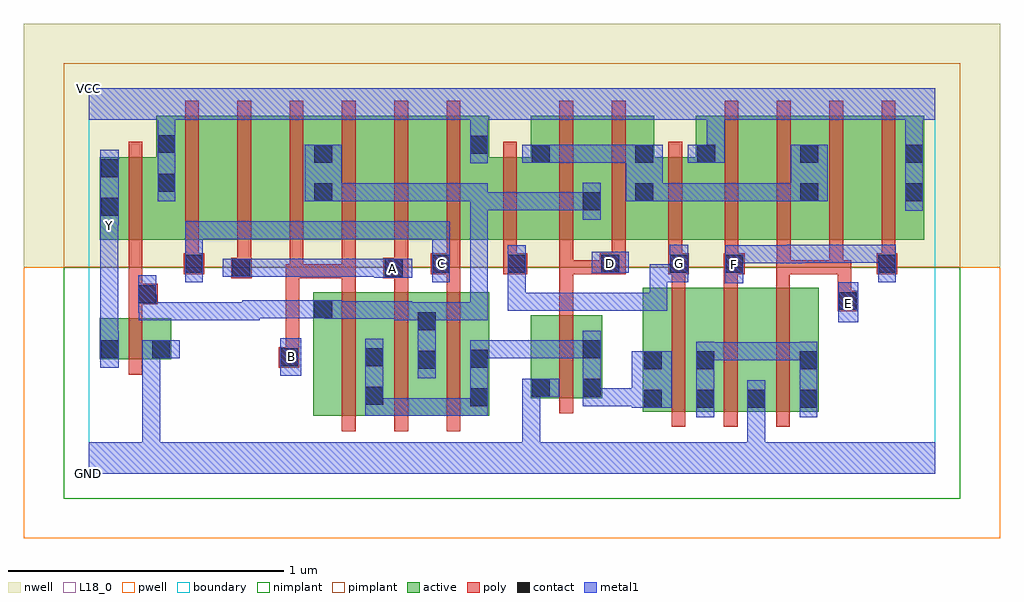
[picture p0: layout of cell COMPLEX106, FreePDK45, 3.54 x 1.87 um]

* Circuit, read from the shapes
.subckt COMPLEX106 A B C D E F G GND VCC Y
M1 GND n1 Y VSUBS nfet w=0.15u l=0.05u
M2 n2 B n1 VSUBS nfet w=0.45u l=0.05u
M3 n1 A n2 VSUBS nfet w=0.45u l=0.05u
M4 n2 C n1 VSUBS nfet w=0.45u l=0.05u
M5 n2 D GND VSUBS nfet w=0.3u l=0.05u
M6 n3 G n2 VSUBS nfet w=0.45u l=0.05u
M7 GND F n3 VSUBS nfet w=0.45u l=0.05u
M8 n3 E GND VSUBS nfet w=0.45u l=0.05u
M9 VCC n1 Y n4 pfet w=0.3u l=0.05u
M10 n5 C VCC n4 pfet w=0.45u l=0.05u
M11 n6 A n5 n4 pfet w=0.45u l=0.05u
M12 n1 B n6 n4 pfet w=0.45u l=0.05u
M13 n7 B n1 n4 pfet w=0.45u l=0.05u
M14 n8 A n7 n4 pfet w=0.45u l=0.05u
M15 VCC C n8 n4 pfet w=0.45u l=0.05u
M16 n9 G VCC n4 pfet w=0.3u l=0.05u m=2
M17 n1 D n9 n4 pfet w=0.45u l=0.05u m=2
M18 n10 F VCC n4 pfet w=0.45u l=0.05u
M19 n9 E n10 n4 pfet w=0.45u l=0.05u
M20 n11 E n9 n4 pfet w=0.45u l=0.05u
M21 VCC F n11 n4 pfet w=0.45u l=0.05u
.ends

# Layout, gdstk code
import gdstk
lib = gdstk.Library(unit=1e-6, precision=1e-09)
def R(c, l, rs):  # rectangles x0, y0, x1, y1
    for r in rs: c.add(gdstk.rectangle(r[:2], r[2:], *l))
def A(c, l, x, y, w, h, nx, ny, dx, dy):  # array of equal rectangles
    R(c, l, [(x+i*dx, y+j*dy, x+i*dx+w, y+j*dy+h) for i in range(nx) for j in range(ny)])
active = (1, 0)
pwell = (2, 0)
nwell = (3, 0)
nimplant = (4, 0)
pimplant = (5, 0)
poly = (9, 0)
contact = (10, 0)
metal1 = (11, 0)
L18_0 = (18, 0)
boundary = (235, 0)

complex106 = lib.new_cell('COMPLEX106')
R(complex106, active, [(0.815,0.21,1.075,0.66), (1,0.21,1.265,0.66), (1.19,0.21,1.455,0.66), (1.38,0.21,1.455,0.66), (2.012,0.225,2.277,0.675), (2.012,0.225,2.087,0.675), (2.202,0.225,2.277,0.542), (2.202,0.225,2.462,0.675), (2.387,0.225,2.652,0.675), (2.387,0.225,2.462,0.542), (2.577,0.227,2.652,0.675), (0.815,0.245,0.89,0.66), (1,0.245,1.075,0.542), (1.19,0.245,1.265,0.592), (1.605,0.275,1.865,0.575), (1.605,0.275,1.68,0.392), (1.79,0.275,1.865,0.575), (0.04,0.415,0.115,0.565), (0.04,0.415,0.3,0.565), (0.225,0.415,0.3,0.565), (0.04,0.85,0.115,1.15), (0.04,0.85,0.32,1.15), (0.245,0.85,0.32,1.3), (0.245,0.85,0.47,1.3), (0.47,0.85,0.66,1.3), (0.66,0.85,0.89,1.3), (0.815,0.85,1.04,1.3), (1.04,0.85,1.23,1.3), (1.23,0.85,1.455,1.3), (1.38,0.85,1.68,1.15), (1.605,0.85,1.865,1.3), (1.79,0.85,2.055,1.3), (1.98,0.85,2.28,1.15), (2.205,0.85,2.43,1.3), (2.43,0.85,2.655,1.3), (2.58,0.85,2.81,1.3), (2.58,0.85,2.655,1.2), (2.81,0.85,3.035,1.3), (2.96,0.85,3.035,1.255), (1.79,0.852,1.865,1.07), (2.205,0.852,2.28,1.3), (0.815,0.857,0.89,1.2), (1.38,0.89,1.455,1.3), (1.98,0.985,2.055,1.2), (1.605,1.007,1.68,1.2)])
R(complex106, pwell, [(-0.235,-0.235,3.31,0.75)])
R(complex106, nwell, [(-0.235,0.75,3.31,1.635)])
R(complex106, nimplant, [(-0.09,-0.09,3.165,0.75)])
R(complex106, pimplant, [(-0.09,0.75,3.165,1.49)])
A(complex106, poly, 0.92, 0.155, 0.05, 0.56, 3, 1, 0.19, 0)
A(complex106, poly, 2.117, 0.17, 0.05, 0.56, 3, 1, 0.19, 0)
A(complex106, poly, 2.117, 0.68, 0.05, 0.095, 3, 1, 0.19, 0)
A(complex106, poly, 1.9, 0.75, 0.05, 0.095, 3, 1, 0.205, 0)
A(complex106, poly, 0.35, 0.795, 0.05, 0.56, 6, 1, 0.19, 0)
A(complex106, poly, 2.31, 0.795, 0.05, 0.56, 4, 1, 0.19, 0)
R(complex106, poly, [(1.71,0.22,1.76,0.63), (0.145,0.36,0.195,0.62), (0.69,0.385,0.765,0.46), (0.715,0.41,0.765,0.46), (0.715,0.41,0.765,0.46), (0.715,0.41,0.765,0.76), (0.145,0.57,0.195,0.665), (1.71,0.58,1.76,0.775), (2.72,0.59,2.795,0.665), (0.145,0.615,0.25,0.69), (2.72,0.615,2.77,0.775), (0.145,0.64,0.195,0.845), (0.92,0.665,0.97,0.76), (1.11,0.665,1.16,0.76), (1.3,0.665,1.35,0.775), (0.517,0.71,0.592,0.785), (0.715,0.71,0.78,0.76), (0.73,0.71,0.78,0.76), (0.73,0.71,0.78,0.76), (0.73,0.71,0.97,0.76), (0.73,0.71,0.78,0.845), (0.92,0.71,0.97,0.76), (0.92,0.71,0.97,0.845), (1.07,0.71,1.16,0.785), (0.345,0.725,0.42,0.8), (1.242,0.725,1.35,0.8), (1.505,0.725,1.592,0.8), (1.71,0.725,1.76,0.845), (1.71,0.725,1.76,0.775), (1.71,0.725,1.76,0.775), (1.71,0.725,1.76,0.775), (1.71,0.725,1.907,0.775), (1.857,0.725,1.95,0.8), (2.105,0.725,2.18,0.8), (2.307,0.725,2.382,0.8), (2.497,0.725,2.55,0.775), (2.5,0.725,2.55,0.845), (2.5,0.725,2.74,0.775), (2.69,0.725,2.74,0.845), (2.69,0.725,2.74,0.775), (2.69,0.725,2.74,0.775), (2.69,0.725,2.74,0.775), (2.69,0.725,2.74,0.775), (2.69,0.725,2.77,0.775), (2.862,0.725,2.937,0.8), (0.54,0.735,0.59,0.845), (1.11,0.735,1.16,0.845), (0.35,0.75,0.4,0.845), (1.3,0.75,1.35,0.845), (1.505,0.75,1.555,0.845), (2.88,0.75,2.93,0.845), (0.145,0.795,0.195,1.205), (1.505,0.795,1.555,1.205), (1.71,0.795,1.76,1.355), (1.9,0.795,1.95,1.355), (2.105,0.795,2.155,1.205)])
R(complex106, contact, [(2.017,0.24,2.082,0.305), (2.207,0.24,2.272,0.305), (2.392,0.24,2.457,0.305), (2.582,0.24,2.647,0.305), (1.385,0.245,1.45,0.31), (1.005,0.25,1.07,0.315), (1.61,0.28,1.675,0.345), (1.795,0.28,1.86,0.345), (2.017,0.38,2.082,0.445), (2.207,0.38,2.272,0.445), (2.582,0.38,2.647,0.445), (1.195,0.382,1.26,0.447), (1.385,0.385,1.45,0.45), (0.695,0.39,0.76,0.455), (1.005,0.39,1.07,0.455), (0.045,0.42,0.11,0.485), (0.23,0.42,0.295,0.485), (1.795,0.42,1.86,0.485), (1.195,0.522,1.26,0.587), (0.82,0.565,0.885,0.63), (2.725,0.595,2.79,0.66), (0.18,0.62,0.245,0.685), (0.522,0.715,0.587,0.78), (1.075,0.715,1.14,0.78), (0.35,0.73,0.415,0.795), (1.247,0.73,1.312,0.795), (1.522,0.73,1.587,0.795), (1.862,0.73,1.927,0.795), (2.11,0.73,2.175,0.795), (2.312,0.73,2.377,0.795), (2.867,0.73,2.932,0.795), (0.045,0.937,0.11,1.002), (1.795,0.957,1.86,1.022), (0.82,0.99,0.885,1.055), (1.985,0.99,2.05,1.055), (2.585,0.99,2.65,1.055), (2.965,0.99,3.03,1.055), (0.25,1.025,0.315,1.09), (0.045,1.077,0.11,1.142), (0.82,1.13,0.885,1.195), (1.61,1.13,1.675,1.195), (1.985,1.13,2.05,1.195), (2.21,1.13,2.275,1.195), (2.585,1.13,2.65,1.195), (2.965,1.13,3.03,1.195), (1.385,1.162,1.45,1.227), (0.25,1.165,0.315,1.23)])
R(complex106, metal1, [(0,0,3.075,0.115), (0.195,0.05,0.26,0.115), (0.195,0.05,0.26,0.115), (0.195,0.05,0.26,0.115), (0.195,0.05,0.26,0.115), (0.195,0.05,0.26,0.115), (0.195,0.05,0.26,0.115), (0.195,0.05,0.26,0.485), (1.575,0.05,1.64,0.115), (1.575,0.05,1.64,0.115), (1.575,0.05,1.64,0.345), (2.392,0.05,2.457,0.27), (2.207,0.205,2.272,0.48), (2.392,0.205,2.457,0.27), (2.392,0.205,2.457,0.27), (2.392,0.205,2.457,0.34), (2.582,0.205,2.647,0.48), (1.005,0.21,1.312,0.275), (1.005,0.21,1.07,0.28), (1.247,0.21,1.312,0.275), (1.247,0.21,1.312,0.275), (1.247,0.21,1.312,0.275), (1.247,0.21,1.45,0.275), (1.385,0.21,1.45,0.485), (1.005,0.215,1.07,0.49), (1.005,0.215,1.07,0.28), (1.972,0.24,2.117,0.445), (1.795,0.245,1.86,0.52), (1.795,0.245,2.037,0.31), (1.972,0.245,2.037,0.31), (1.972,0.245,2.037,0.31), (1.575,0.28,1.64,0.345), (1.575,0.28,1.64,0.345), (1.575,0.28,1.71,0.345), (1.195,0.347,1.26,0.622), (0.695,0.355,0.772,0.492), (0.042,0.385,0.11,0.52), (2.207,0.412,2.462,0.477), (2.397,0.412,2.462,0.477), (2.397,0.412,2.462,0.477), (2.397,0.412,2.462,0.477), (2.397,0.412,2.617,0.477), (2.552,0.412,2.617,0.477), (2.552,0.412,2.647,0.477), (0.195,0.42,0.33,0.485), (1.385,0.42,1.602,0.485), (1.537,0.42,1.602,0.485), (1.537,0.42,1.602,0.485), (1.537,0.42,1.602,0.485), (1.537,0.42,1.74,0.485), (1.675,0.42,1.74,0.485), (1.675,0.42,1.86,0.485), (0.042,0.455,0.107,0.897), (2.722,0.55,2.795,0.695), (0.182,0.557,0.247,0.622), (0.182,0.557,0.415,0.622), (0.182,0.557,0.247,0.65), (0.35,0.557,0.415,0.622), (0.35,0.557,0.415,0.622), (0.35,0.557,0.415,0.622), (0.35,0.557,0.622,0.622), (0.557,0.557,0.622,0.622), (0.557,0.557,0.622,0.622), (0.557,0.557,0.622,0.63), (1.11,0.557,1.26,0.622), (1.11,0.557,1.175,0.627), (1.195,0.557,1.45,0.622), (1.385,0.557,1.45,0.622), (1.385,0.557,1.45,0.622), (1.385,0.557,1.45,0.622), (1.385,0.557,1.45,1.022), (0.855,0.562,1.057,0.627), (0.855,0.562,0.92,0.63), (0.992,0.562,1.057,0.627), (0.992,0.562,1.175,0.627), (0.557,0.565,0.782,0.63), (0.717,0.565,0.782,0.63), (0.717,0.565,0.85,0.63), (0.785,0.565,0.92,0.63), (0.855,0.565,0.92,0.63), (0.18,0.585,0.245,0.72), (0.18,0.585,0.247,0.65), (0.182,0.585,0.247,0.65), (1.522,0.592,1.587,0.657), (1.522,0.592,1.587,0.76), (1.522,0.592,1.74,0.657), (1.675,0.592,1.877,0.657), (1.675,0.592,1.74,0.657), (1.812,0.592,1.877,0.657), (1.812,0.592,1.877,0.657), (1.812,0.592,1.877,0.657), (1.812,0.592,2.102,0.657), (2.037,0.592,2.102,0.657), (2.037,0.592,2.102,0.76), (2.312,0.692,2.377,0.83), (0.35,0.695,0.415,0.83), (1.247,0.695,1.312,0.832), (1.522,0.695,1.587,0.76), (1.522,0.695,1.587,0.76), (1.522,0.695,1.587,0.83), (2.037,0.695,2.102,0.76), (2.037,0.695,2.175,0.76), (2.11,0.695,2.177,0.832), (2.867,0.695,2.932,0.832), (1.037,0.712,1.175,0.78), (0.487,0.715,0.622,0.78), (0.557,0.715,0.622,0.78), (0.557,0.715,0.622,0.78), (0.557,0.715,0.782,0.78), (0.717,0.715,0.782,0.78), (0.717,0.715,0.92,0.78), (0.855,0.715,0.92,0.78), (0.855,0.715,0.92,0.78), (0.855,0.715,0.92,0.78), (0.855,0.715,1.102,0.78), (1.037,0.715,1.102,0.78), (1.037,0.715,1.102,0.78), (1.827,0.73,1.962,0.807), (0.35,0.765,0.415,0.83), (0.35,0.765,0.415,0.83), (0.35,0.765,0.415,0.917), (2.312,0.765,2.477,0.83), (2.412,0.765,2.477,0.83), (2.412,0.765,2.6,0.83), (2.535,0.765,2.6,0.832), (1.247,0.767,1.312,0.832), (1.247,0.767,1.312,0.832), (1.247,0.767,1.312,0.917), (2.535,0.767,2.755,0.832), (2.69,0.767,2.892,0.832), (2.69,0.767,2.755,0.832), (2.69,0.767,2.755,0.832), (2.69,0.767,2.755,0.832), (2.827,0.767,2.932,0.832), (2.827,0.767,2.892,0.832), (0.042,0.832,0.107,0.967), (0.35,0.852,0.415,0.917), (0.35,0.852,0.622,0.917), (0.557,0.852,0.622,0.917), (0.557,0.852,0.622,0.917), (0.557,0.852,0.622,0.917), (0.557,0.852,0.782,0.917), (0.717,0.852,0.782,0.917), (0.717,0.852,0.782,0.917), (0.717,0.852,0.782,0.917), (0.717,0.852,0.92,0.917), (0.855,0.852,0.92,0.917), (0.855,0.852,1.122,0.917), (1.057,0.852,1.122,0.917), (1.057,0.852,1.122,0.917), (1.057,0.852,1.122,0.917), (1.057,0.852,1.312,0.917), (1.247,0.852,1.312,0.917), (0.042,0.902,0.107,0.967), (0.042,0.902,0.11,1.177), (1.795,0.922,1.86,1.057), (2.965,0.955,3.03,1.23), (1.385,0.957,1.45,1.022), (1.385,0.957,1.45,1.022), (1.385,0.957,1.45,1.022), (1.385,0.957,1.45,1.022), (1.385,0.957,1.602,1.022), (1.385,0.957,1.45,1.055), (1.537,0.957,1.602,1.022), (1.537,0.957,1.602,1.022), (1.537,0.957,1.602,1.022), (1.537,0.957,1.74,1.022), (1.675,0.957,1.74,1.022), (1.675,0.957,1.86,1.022), (0.25,0.99,0.315,1.265), (0.785,0.99,0.92,1.195), (0.855,0.99,0.92,1.055), (0.855,0.99,0.92,1.055), (0.855,0.99,1.122,1.055), (1.057,0.99,1.122,1.055), (1.057,0.99,1.122,1.055), (1.057,0.99,1.122,1.055), (1.057,0.99,1.312,1.055), (1.247,0.99,1.312,1.055), (1.247,0.99,1.312,1.055), (1.247,0.99,1.312,1.055), (1.247,0.99,1.45,1.055), (1.95,0.99,2.085,1.195), (2.02,0.99,2.085,1.055), (2.02,0.99,2.085,1.055), (2.02,0.99,2.24,1.055), (2.175,0.99,2.24,1.055), (2.175,0.99,2.24,1.055), (2.175,0.99,2.24,1.055), (2.175,0.99,2.41,1.055), (2.345,0.99,2.41,1.055), (2.345,0.99,2.41,1.055), (2.345,0.99,2.41,1.055), (2.345,0.99,2.615,1.055), (2.55,0.99,2.615,1.055), (2.55,0.99,2.615,1.055), (2.55,0.99,2.685,1.195), (1.385,1.127,1.45,1.262), (1.575,1.13,1.71,1.195), (1.645,1.13,1.74,1.195), (1.675,1.13,1.877,1.195), (1.675,1.13,1.74,1.195), (1.812,1.13,1.877,1.195), (1.812,1.13,1.877,1.195), (1.812,1.13,1.877,1.195), (1.812,1.13,2.015,1.195), (2.175,1.13,2.31,1.195), (2.245,1.13,2.31,1.35), (2.965,1.165,3.03,1.35), (1.385,1.197,1.45,1.35), (0.25,1.2,0.315,1.35), (0,1.285,3.075,1.4)])
R(complex106, L18_0, [(0,0,3.075,0.115), (0.195,0.05,0.26,0.115), (0.195,0.05,0.26,0.115), (0.195,0.05,0.26,0.115), (0.195,0.05,0.26,0.115), (0.195,0.05,0.26,0.115), (0.195,0.05,0.26,0.115), (0.195,0.05,0.26,0.485), (1.575,0.05,1.64,0.115), (1.575,0.05,1.64,0.115), (1.575,0.05,1.64,0.345), (2.392,0.05,2.457,0.27), (2.392,0.205,2.457,0.34), (2.392,0.205,2.457,0.27), (2.392,0.205,2.457,0.27), (1.575,0.28,1.64,0.345), (1.575,0.28,1.64,0.345), (1.575,0.28,1.71,0.345), (0.695,0.355,0.772,0.492), (0.042,0.385,0.11,0.52), (0.702,0.392,0.767,0.457), (0.195,0.42,0.33,0.485), (0.042,0.455,0.107,0.897), (2.722,0.55,2.795,0.695), (2.727,0.587,2.792,0.652), (1.522,0.592,1.587,0.657), (1.522,0.592,1.587,0.76), (1.522,0.592,1.74,0.657), (1.675,0.592,1.74,0.657), (1.675,0.592,1.877,0.657), (1.812,0.592,1.877,0.657), (1.812,0.592,1.877,0.657), (1.812,0.592,1.877,0.657), (1.812,0.592,2.102,0.657), (2.037,0.592,2.102,0.657), (2.037,0.592,2.102,0.76), (2.312,0.692,2.377,0.83), (0.35,0.695,0.415,0.83), (1.247,0.695,1.312,0.832), (1.522,0.695,1.587,0.83), (1.522,0.695,1.587,0.76), (1.522,0.695,1.587,0.76), (2.037,0.695,2.102,0.76), (2.037,0.695,2.175,0.76), (2.11,0.695,2.177,0.832), (2.867,0.695,2.932,0.832), (1.037,0.712,1.175,0.78), (1.072,0.712,1.137,0.777), (0.487,0.715,0.622,0.78), (0.557,0.715,0.622,0.78), (0.557,0.715,0.622,0.78), (0.557,0.715,0.782,0.78), (0.717,0.715,0.782,0.78), (0.717,0.715,0.92,0.78), (0.855,0.715,0.92,0.78), (0.855,0.715,0.92,0.78), (0.855,0.715,0.92,0.78), (0.855,0.715,1.102,0.78), (1.037,0.715,1.102,0.78), (1.037,0.715,1.102,0.78), (2.312,0.727,2.377,0.792), (1.827,0.73,1.962,0.807), (1.247,0.732,1.312,0.797), (1.862,0.732,1.927,0.797), (2.112,0.732,2.177,0.797), (0.35,0.765,0.415,0.83), (0.35,0.765,0.415,0.83), (0.35,0.765,0.415,0.917), (2.312,0.765,2.477,0.83), (2.412,0.765,2.477,0.83), (2.412,0.765,2.6,0.83), (2.535,0.765,2.6,0.832), (1.247,0.767,1.312,0.832), (1.247,0.767,1.312,0.832), (1.247,0.767,1.312,0.917), (2.535,0.767,2.755,0.832), (2.69,0.767,2.755,0.832), (2.69,0.767,2.755,0.832), (2.69,0.767,2.755,0.832), (2.69,0.767,2.892,0.832), (2.827,0.767,2.892,0.832), (2.827,0.767,2.932,0.832), (0.042,0.832,0.107,0.967), (0.35,0.852,0.415,0.917), (0.35,0.852,0.622,0.917), (0.557,0.852,0.622,0.917), (0.557,0.852,0.622,0.917), (0.557,0.852,0.622,0.917), (0.557,0.852,0.782,0.917), (0.717,0.852,0.782,0.917), (0.717,0.852,0.782,0.917), (0.717,0.852,0.782,0.917), (0.717,0.852,0.92,0.917), (0.855,0.852,0.92,0.917), (0.855,0.852,1.122,0.917), (1.057,0.852,1.122,0.917), (1.057,0.852,1.122,0.917), (1.057,0.852,1.122,0.917), (1.057,0.852,1.312,0.917), (1.247,0.852,1.312,0.917), (0.042,0.867,0.107,0.932), (0.042,0.902,0.11,1.177), (0.042,0.902,0.107,0.967), (2.965,0.955,3.03,1.23), (0.25,0.99,0.315,1.265), (1.385,1.127,1.45,1.262), (2.175,1.13,2.31,1.195), (2.245,1.13,2.31,1.35), (2.965,1.165,3.03,1.35), (1.385,1.197,1.45,1.35), (0.25,1.2,0.315,1.35), (0,1.285,3.075,1.4)])
R(complex106, boundary, [(0,0,3.075,1.4)])
complex106.add(gdstk.Label('A', (1.105,0.745), layer=11, texttype=0))
complex106.add(gdstk.Label('B', (0.735,0.425), layer=11, texttype=0))
complex106.add(gdstk.Label('C', (1.28,0.765), layer=11, texttype=0))
complex106.add(gdstk.Label('D', (1.895,0.765), layer=11, texttype=0))
complex106.add(gdstk.Label('E', (2.76,0.62), layer=11, texttype=0))
complex106.add(gdstk.Label('F', (2.345,0.76), layer=11, texttype=0))
complex106.add(gdstk.Label('G', (2.145,0.765), layer=11, texttype=0))
complex106.add(gdstk.Label('Y', (0.075,0.9), layer=11, texttype=0))
complex106.add(gdstk.Label('VCC', (0,1.4), layer=11, texttype=0))
complex106.add(gdstk.Label('GND', (0,0), layer=11, texttype=0))

lib.write_gds('COMPLEX106.gds')
